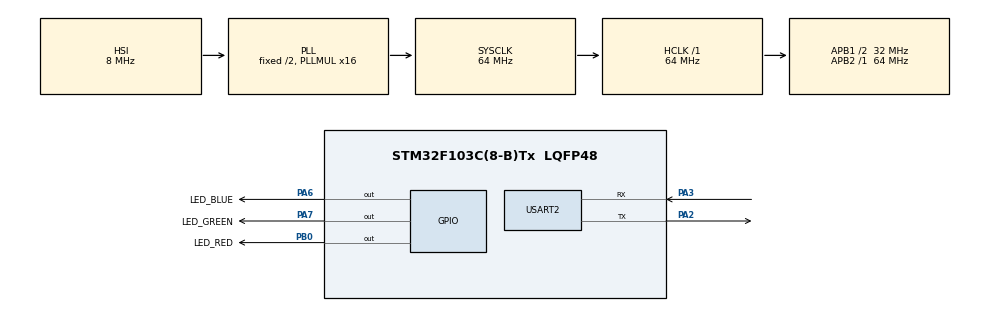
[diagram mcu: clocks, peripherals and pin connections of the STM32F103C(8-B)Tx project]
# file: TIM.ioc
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Dma.Request0=USART2_RX
Dma.Request1=USART2_TX
Dma.USART2_RX.0.Direction=DMA_PERIPH_TO_MEMORY
Dma.USART2_RX.0.Instance=DMA1_Channel6
Dma.USART2_RX.0.MemDataAlignment=DMA_MDATAALIGN_BYTE
Dma.USART2_RX.0.MemInc=DMA_MINC_ENABLE
Dma.USART2_RX.0.Mode=DMA_NORMAL
Dma.USART2_RX.0.PeriphDataAlignment=DMA_PDATAALIGN_BYTE
Dma.USART2_RX.0.PeriphInc=DMA_PINC_DISABLE
Dma.USART2_RX.0.Priority=DMA_PRIORITY_LOW
Dma.USART2_TX.1.Direction=DMA_MEMORY_TO_PERIPH
Dma.USART2_TX.1.Instance=DMA1_Channel7
Dma.USART2_TX.1.MemDataAlignment=DMA_MDATAALIGN_BYTE
Dma.USART2_TX.1.MemInc=DMA_MINC_ENABLE
Dma.USART2_TX.1.Mode=DMA_NORMAL
Dma.USART2_TX.1.PeriphDataAlignment=DMA_PDATAALIGN_BYTE
Dma.USART2_TX.1.PeriphInc=DMA_PINC_DISABLE
Dma.USART2_TX.1.Priority=DMA_PRIORITY_LOW
Mcu.Family=STM32F1
Mcu.Name=STM32F103C(8-B)Tx
Mcu.Package=LQFP48
NVIC.DMA1_Channel6_IRQn=true\:0\:0\:false\:false\:true\:false\:true\:true
NVIC.DMA1_Channel7_IRQn=true\:0\:0\:false\:false\:true\:false\:true\:true
NVIC.PriorityGroup=NVIC_PRIORITYGROUP_4
NVIC.TIM4_IRQn=true\:1\:0\:true\:false\:true\:true\:true\:true
NVIC.USART2_IRQn=true\:2\:0\:true\:false\:true\:false\:true\:true
PA13.GPIO_Label=TIM4
PA13.Mode=Serial_Wire
PA13.Signal=SYS_JTMS-SWDIO
PA14.Mode=Serial_Wire
PA14.Signal=SYS_JTCK-SWCLK
PA2.Mode=Asynchronous
PA2.Signal=USART2_TX
PA3.Mode=Asynchronous
PA3.Signal=USART2_RX
PA6.GPIO_Label=LED_BLUE
PA6.Signal=GPIO_Output
PA7.GPIO_Label=LED_GREEN
PA7.Signal=GPIO_Output
PB0.GPIO_Label=LED_RED
PB0.Signal=GPIO_Output
PD0-OSC_IN.Mode=HSE-External-Oscillator
PD0-OSC_IN.Signal=RCC_OSC_IN
PD1-OSC_OUT.Mode=HSE-External-Oscillator
PD1-OSC_OUT.Signal=RCC_OSC_OUT
ProjectManager.HeapSize=0x200
ProjectManager.StackSize=0x400
ProjectManager.TargetToolchain=CMake
RCC.AHBFreq_Value=64000000
RCC.APB1CLKDivider=RCC_HCLK_DIV2
RCC.APB1Freq_Value=32000000
RCC.APB1TimFreq_Value=64000000
RCC.APB2Freq_Value=64000000
RCC.APB2TimFreq_Value=64000000
RCC.HCLKFreq_Value=64000000
RCC.PLLMUL=RCC_PLL_MUL16
RCC.SYSCLKFreq_VALUE=64000000
RCC.SYSCLKSource=RCC_SYSCLKSOURCE_PLLCLK
RCC.USBFreq_Value=64000000
TIM4.Period=10000-1
TIM4.Prescaler=7200-1
USART2.VirtualMode=VM_ASYNC
VP_TIM4_VS_ClockSourceINT.Mode=Internal
board=custom

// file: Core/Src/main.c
/* USER CODE BEGIN Header */
/**
  ******************************************************************************
  * @file           : main.c
  * @brief          : Main program body
  ******************************************************************************
  * @attention
  *
  * Copyright (c) 2026 STMicroelectronics.
  * All rights reserved.
  *
  * This software is licensed under terms that can be found in the LICENSE file
  * in the root directory of this software component.
  * If no LICENSE file comes with this software, it is provided AS-IS.
  *
  ******************************************************************************
  */
/* USER CODE END Header */
#include "main.h"
#include "dma.h"
#include "tim.h"
#include "usart.h"
#include "gpio.h"

/* USER CODE BEGIN PM */
int timpass = 0;
uint8_t mess;
int light = 0;
/* USER CODE END PM */

/* USER CODE BEGIN PV */
void HAL_TIM_PeriodElapsedCallback(TIM_HandleTypeDef *htim){
  if(htim == &htim4){
    timpass++;
    // HAL_TIM_Base_Stop_IT(&htim4);
    char back[100];
    int cnt = 0;
    back[0]='T';back[1]='i';back[2]='m';back[3]='e';back[4]=' ';back[5]='p';back[6]='a';back[7]='s';back[8]='s';back[9]='e';back[10]='d';back[11]=':';back[12]=' ';
    int replace = timpass;
    cnt+=13;
    char str[100];
    int cnt2 = 0;;
    while(replace){
      str[cnt2++] = (replace%10) + '0';
      replace/=10;
    }
    for(int i=cnt2-1;i>=0;i--)back[cnt++] = str[i];
    HAL_UART_Transmit_DMA(&huart2, (uint8_t*)back, cnt);
    if(light==0){
      if(HAL_GPIO_ReadPin(LED_GREEN_GPIO_Port, LED_GREEN_Pin)==GPIO_PIN_SET)HAL_GPIO_WritePin(LED_GREEN_GPIO_Port, LED_GREEN_Pin, GPIO_PIN_RESET);
      if(HAL_GPIO_ReadPin(LED_BLUE_GPIO_Port, LED_BLUE_Pin)==GPIO_PIN_SET)HAL_GPIO_WritePin(LED_BLUE_GPIO_Port, LED_BLUE_Pin, GPIO_PIN_RESET);
      HAL_GPIO_TogglePin(LED_RED_GPIO_Port, LED_RED_Pin);
    }
    if(light==7){
      if(HAL_GPIO_ReadPin(LED_RED_GPIO_Port, LED_RED_Pin)==GPIO_PIN_SET)HAL_GPIO_WritePin(LED_RED_GPIO_Port, LED_RED_Pin, GPIO_PIN_RESET);
      if(HAL_GPIO_ReadPin(LED_BLUE_GPIO_Port, LED_BLUE_Pin)==GPIO_PIN_SET)HAL_GPIO_WritePin(LED_BLUE_GPIO_Port, LED_BLUE_Pin, GPIO_PIN_RESET);
      HAL_GPIO_TogglePin(LED_GREEN_GPIO_Port, LED_GREEN_Pin);
    }
    if(light==6){
      if(HAL_GPIO_ReadPin(LED_RED_GPIO_Port, LED_RED_Pin)==GPIO_PIN_SET)HAL_GPIO_WritePin(LED_RED_GPIO_Port, LED_RED_Pin, GPIO_PIN_RESET);
      if(HAL_GPIO_ReadPin(LED_GREEN_GPIO_Port, LED_GREEN_Pin)==GPIO_PIN_SET)HAL_GPIO_WritePin(LED_GREEN_GPIO_Port, LED_GREEN_Pin, GPIO_PIN_RESET);
      HAL_GPIO_TogglePin(LED_BLUE_GPIO_Port, LED_BLUE_Pin);
    }
    HAL_TIM_Base_Start_IT(&htim4);
  }
}
void HAL_UART_RxCpltCallback(UART_HandleTypeDef *huart){
  if(huart == &huart2){
    HAL_UART_Transmit_DMA(&huart2, (uint8_t*)&mess, 1);
    if(mess == 'R')light = 0;
    if(mess == 'G')light = 7;
    if(mess == 'B')light = 6;
    HAL_UART_Receive_DMA(&huart2, (uint8_t*)&mess, 1);
  }
}
/* USER CODE END PV */

void SystemClock_Config(void);

int main(void)
{

  /* MCU Configuration--------------------------------------------------------*/

  /* Reset of all peripherals, Initializes the Flash interface and the Systick. */
  HAL_Init();

  /* Configure the system clock */
  SystemClock_Config();

  /* Initialize all configured peripherals */
  MX_GPIO_Init();
  MX_DMA_Init();
  MX_TIM4_Init();
  MX_USART2_UART_Init();
  /* USER CODE BEGIN 2 */
  HAL_TIM_Base_Start_IT(&htim4);
  HAL_UART_Receive_DMA(&huart2, (uint8_t*)&mess, 1);
  /* USER CODE END 2 */

  /* Infinite loop */
  while (1)
  {

  }
}

void SystemClock_Config(void)
{
  RCC_OscInitTypeDef RCC_OscInitStruct = {0};
  RCC_ClkInitTypeDef RCC_ClkInitStruct = {0};

  /** Initializes the RCC Oscillators according to the specified parameters
  * in the RCC_OscInitTypeDef structure.
  */
  RCC_OscInitStruct.OscillatorType = RCC_OSCILLATORTYPE_HSI;
  RCC_OscInitStruct.HSIState = RCC_HSI_ON;
  RCC_OscInitStruct.HSICalibrationValue = RCC_HSICALIBRATION_DEFAULT;
  RCC_OscInitStruct.PLL.PLLState = RCC_PLL_ON;
  RCC_OscInitStruct.PLL.PLLSource = RCC_PLLSOURCE_HSI_DIV2;
  RCC_OscInitStruct.PLL.PLLMUL = RCC_PLL_MUL16;
  if (HAL_RCC_OscConfig(&RCC_OscInitStruct) != HAL_OK)
  {
    Error_Handler();
  }

  /** Initializes the CPU, AHB and APB buses clocks
  */
  RCC_ClkInitStruct.ClockType = RCC_CLOCKTYPE_HCLK|RCC_CLOCKTYPE_SYSCLK
                              |RCC_CLOCKTYPE_PCLK1|RCC_CLOCKTYPE_PCLK2;
  RCC_ClkInitStruct.SYSCLKSource = RCC_SYSCLKSOURCE_PLLCLK;
  RCC_ClkInitStruct.AHBCLKDivider = RCC_SYSCLK_DIV1;
  RCC_ClkInitStruct.APB1CLKDivider = RCC_HCLK_DIV2;
  RCC_ClkInitStruct.APB2CLKDivider = RCC_HCLK_DIV1;

  if (HAL_RCC_ClockConfig(&RCC_ClkInitStruct, FLASH_LATENCY_2) != HAL_OK)
  {
    Error_Handler();
  }
}

void Error_Handler(void)
{
  __disable_irq();
  while (1)
  {
  }
}
